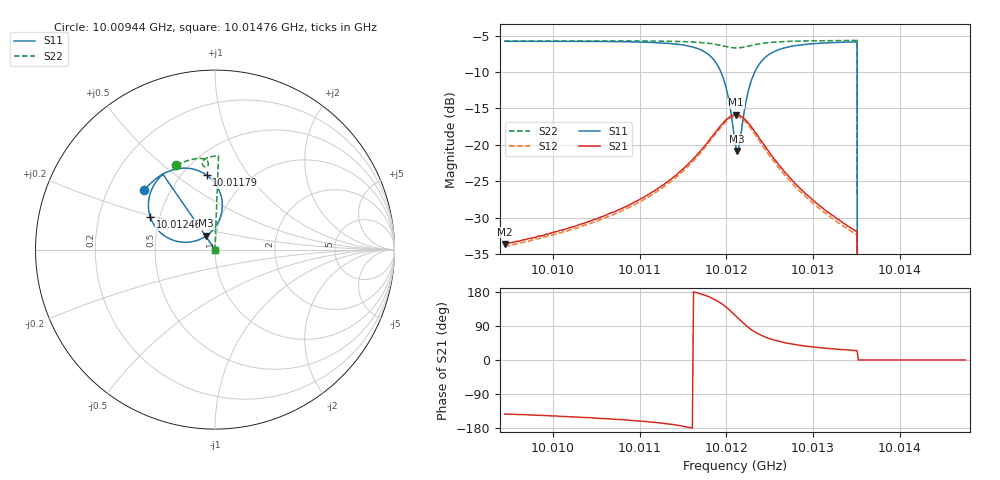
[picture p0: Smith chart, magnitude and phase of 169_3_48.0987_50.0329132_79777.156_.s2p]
#  HZ  S  RI  R  50.00
! Rohde & Schwarz Vector Network Analyzer
! Rohde-Schwarz,ZNB20-2Port,1311601062101988,3.16
! Created: UTC 12/23/2023, 3:51:34 AM
! freq[Hz]  re:S11  im:S11  re:S21  im:S21  re:S12  im:S12  re:S22  im:S22
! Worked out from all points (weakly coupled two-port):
!   401 points, 10.00944 GHz to 10.01476 GHz, reference 50 ohm
!   highest |S21| = -15.85 dB at 10.01211 GHz (marker M1); lowest = -33.6 dB at 10.00944 GHz (marker M2)
!   lowest |S11| = -20.8 dB at 10.01213 GHz (marker M3), VSWR 1.20, Z = 44.9 + j6.95 ohm
!   |S11| at or under -10 dB: 10.01194 GHz to 10.01233 GHz (389.8 kHz wide, 0.00389 % of centre); 10.01351 GHz to end of sweep
!   |S22| runs from - to -5.6 dB; largest |S21 - S12| = 0.0082
!   S11 on the Smith chart (normalised r, x): 10.00944 GHz: 0.36, +0.32; 10.01179 GHz: 0.65, +0.65; 10.01246 GHz: 0.44, +0.19; 10.01476 GHz: 1.00, +0.00
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1.000944e10  -0.3941 0.3311  -0.0166 -0.0126  -0.0153 -0.0131  -0.2152 0.4711
1.0010331e10  -0.3392 0.3868  -0.0252 -0.0138  -0.0235 -0.0144  -0.1599 0.4934
1.0011222e10  -0.2385 0.4433  -0.0491 -0.0124  -0.0467 -0.0144  -0.0976 0.5076
1.0011541e10  -0.1596 0.4537  -0.072 -0.00447  -0.069 -0.00809  -0.0706 0.5071
1.0011793e10  -0.0467 0.4152  -0.1035 0.0233  -0.1015 0.0174  -0.0466 0.4971
1.0011886e10  0.00565 0.3615  -0.1148 0.0494  -0.1143 0.0417  -0.0392 0.4879
1.0011966e10  0.0378 0.2821  -0.1169 0.0815  -0.1174 0.0744  -0.0368 0.4769
1.0012033e10  0.0336 0.1927  -0.1048 0.1143  -0.1074 0.1066  -0.0403 0.4673
1.0012099e10  -0.0163 0.1041  -0.0761 0.1421  -0.0794 0.1355  -0.0495 0.4611
1.0012112e10  -0.0313 0.0897  -0.0688 0.1459  -0.0724 0.1395  -0.0516 0.4607
1.0012126e10  -0.0484 0.0768  -0.061 0.149  -0.065 0.1427  -0.0539 0.4607
1.0012152e10  -0.0855 0.0565  -0.0454 0.1527  -0.0493 0.1466  -0.0583 0.4614
1.0012219e10  -0.1841 0.0415  -0.00695 0.1488  -0.0111 0.1436  -0.067 0.4676
1.0012285e10  -0.2654 0.0668  0.0218 0.132  0.0162 0.1278  -0.0706 0.4771
1.0012365e10  -0.3271 0.1197  0.0402 0.1076  0.0352 0.1043  -0.0692 0.4882
1.0012458e10  -0.3605 0.182  0.0482 0.0823  0.043 0.0802  -0.0633 0.4983
1.0012684e10  -0.3674 0.2874  0.0453 0.0451  0.0409 0.0451  -0.0439 0.5114
1.001299e10  -0.3396 0.3606  0.0346 0.0242  0.0318 0.0244  -0.0187 0.5187
1.0013482e10  -0.2929 0.418  0.0235 0.011  0.0216 0.0116  0.0178 0.5217
1.0013548e10  0 0  0 0  0 0  0 0
1.001388e10  0 0  0 0  0 0  0 0
1.0014758e10  0 0  0 0  0 0  0 0
